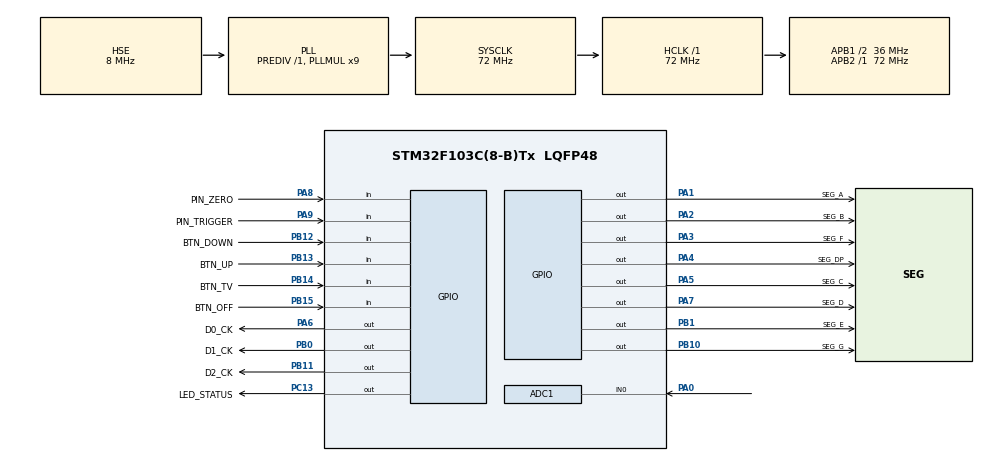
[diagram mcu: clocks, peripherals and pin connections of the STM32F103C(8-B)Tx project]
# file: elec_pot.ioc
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ADC1.Channel-7\#ChannelRegularConversion=ADC_CHANNEL_0
ADC1.NbrOfConversionFlag=1
ADC1.Rank-7\#ChannelRegularConversion=1
ADC1.SamplingTime-7\#ChannelRegularConversion=ADC_SAMPLETIME_28CYCLES_5
ADC1.master=1
Mcu.Family=STM32F1
Mcu.Name=STM32F103C(8-B)Tx
Mcu.Package=LQFP48
NVIC.PriorityGroup=NVIC_PRIORITYGROUP_4
PA0-WKUP.Signal=ADCx_IN0
PA1.GPIO_Label=SEG_A
PA1.Signal=GPIO_Output
PA13.Mode=Serial_Wire
PA13.Signal=SYS_JTMS-SWDIO
PA14.Mode=Serial_Wire
PA14.Signal=SYS_JTCK-SWCLK
PA2.GPIO_Label=SEG_B
PA2.Signal=GPIO_Output
PA3.GPIO_Label=SEG_F
PA3.Signal=GPIO_Output
PA4.GPIO_Label=SEG_DP
PA4.Signal=GPIO_Output
PA5.GPIO_Label=SEG_C
PA5.Signal=GPIO_Output
PA6.GPIO_Label=D0_CK
PA6.Signal=GPIO_Output
PA7.GPIO_Label=SEG_D
PA7.Signal=GPIO_Output
PA8.GPIO_Label=PIN_ZERO
PA8.Signal=GPIO_Input
PA9.GPIO_Label=PIN_TRIGGER
PA9.Signal=GPIO_Input
PB0.GPIO_Label=D1_CK
PB0.Signal=GPIO_Output
PB1.GPIO_Label=SEG_E
PB1.PinState=GPIO_PIN_RESET
PB1.Signal=GPIO_Output
PB10.GPIO_Label=SEG_G
PB10.Signal=GPIO_Output
PB11.GPIO_Label=D2_CK
PB11.Signal=GPIO_Output
PB12.GPIO_Label=BTN_DOWN
PB12.Signal=GPIO_Input
PB13.GPIO_Label=BTN_UP
PB13.Signal=GPIO_Input
PB14.GPIO_Label=BTN_TV
PB14.Signal=GPIO_Input
PB15.GPIO_Label=BTN_OFF
PB15.GPIO_PuPd=GPIO_PULLDOWN
PB15.Signal=GPIO_Input
PC13-TAMPER-RTC.GPIO_Label=LED_STATUS
PC13-TAMPER-RTC.PinState=GPIO_PIN_RESET
PC13-TAMPER-RTC.Signal=GPIO_Output
PC14-OSC32_IN.Mode=LSE-External-Oscillator
PC14-OSC32_IN.Signal=RCC_OSC32_IN
PC15-OSC32_OUT.Mode=LSE-External-Oscillator
PC15-OSC32_OUT.Signal=RCC_OSC32_OUT
PD0-OSC_IN.Mode=HSE-External-Oscillator
PD0-OSC_IN.Signal=RCC_OSC_IN
PD1-OSC_OUT.Mode=HSE-External-Oscillator
PD1-OSC_OUT.Signal=RCC_OSC_OUT
ProjectManager.HeapSize=0x200
ProjectManager.StackSize=0x400
ProjectManager.TargetToolchain=STM32CubeIDE
RCC.ADCPresc=RCC_ADCPCLK2_DIV6
RCC.AHBFreq_Value=72000000
RCC.APB1CLKDivider=RCC_HCLK_DIV2
RCC.APB1Freq_Value=36000000
RCC.APB1TimFreq_Value=72000000
RCC.APB2Freq_Value=72000000
RCC.APB2TimFreq_Value=72000000
RCC.HCLKFreq_Value=72000000
RCC.PLLMUL=RCC_PLL_MUL9
RCC.PLLSourceVirtual=RCC_PLLSOURCE_HSE
RCC.SYSCLKFreq_VALUE=72000000
RCC.SYSCLKSource=RCC_SYSCLKSOURCE_PLLCLK
RCC.USBFreq_Value=48000000
RCC.USBPrescaler=RCC_USBCLKSOURCE_PLL_DIV1_5
SH.ADCx_IN0.0=ADC1_IN0,IN0
board=custom

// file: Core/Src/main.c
/* USER CODE BEGIN Header */
/**
  ******************************************************************************
  * @file           : main.c
  * @brief          : Main program body
  ******************************************************************************
  * @attention
  *
  * Copyright (c) 2022 STMicroelectronics.
  * All rights reserved.
  *
  * This software is licensed under terms that can be found in the LICENSE file
  * in the root directory of this software component.
  * If no LICENSE file comes with this software, it is provided AS-IS.
  *
  ******************************************************************************
  */
/* USER CODE END Header */
#include "main.h"

/* USER CODE BEGIN Includes */

#include "util.h"
#include "strutil.h"
#include "seven_segments.h"
/* USER CODE END Includes */

ADC_HandleTypeDef hadc1;

/* USER CODE BEGIN PV */

/* Estructuras de control */
_usrtick usrtick;
_hb hb;
_sseg sseg;

static const uint32_t segments_ports[8] = {
		(uint32_t)SEG_A_GPIO_Port,
		(uint32_t)SEG_B_GPIO_Port,
		(uint32_t)SEG_C_GPIO_Port,
		(uint32_t)SEG_D_GPIO_Port,
		(uint32_t)SEG_E_GPIO_Port,
		(uint32_t)SEG_F_GPIO_Port,
		(uint32_t)SEG_G_GPIO_Port,
		(uint32_t)SEG_DP_GPIO_Port
};
static const uint16_t segments_pins[8] = {
		SEG_A_Pin,
		SEG_B_Pin,
		SEG_C_Pin,
		SEG_D_Pin,
		SEG_E_Pin,
		SEG_F_Pin,
		SEG_G_Pin,
		SEG_DP_Pin
};
static const uint32_t digits_ports[NUMBER_OF_DIGITS] = {
		(uint32_t)D0_CK_GPIO_Port,
		(uint32_t)D1_CK_GPIO_Port,
		(uint32_t)D2_CK_GPIO_Port
};
static const uint16_t digits_pins[NUMBER_OF_DIGITS] = {
		D0_CK_Pin,
		D1_CK_Pin,
		D2_CK_Pin
};

/* USER CODE END PV */

void SystemClock_Config(void);
static void MX_GPIO_Init(void);
static void MX_ADC1_Init(void);
/* USER CODE BEGIN PFP */

void tasks_1ms();
void tasks_10ms();
void tasks_100ms();
void tasks_1s();
void tasks_10s();

/* USER CODE END PFP */

/* USER CODE BEGIN 0 */

/*
 * --------------  RUTINAS DE INICIALIZACION LOCALES  ---------------------------
 */

/*
 * --------------  REDEFINICION DE MANEJO DE INTERRUPCIONES   ---------------------------
 */
/*
 * ISR ADC - Conversion complete
 */
void HAL_ADC_ConvCpltCallback(ADC_HandleTypeDef* hadc){

}

/*
 * --------------  FUNCIONES DE USUARIO  ---------------------------
 */

/*
 * Funciones pasadas por parametro
 */

/*
 * Al hearbeat
 */
void heartbeat_gpio_callback(uint8_t state){
	HAL_GPIO_WritePin(LED_STATUS_GPIO_Port, LED_STATUS_Pin, state);
}

/*
 * Al Seven segments
 */
void sseg_gpio_high_callback(uint32_t port, uint16_t pin){
	HAL_GPIO_WritePin((GPIO_TypeDef *)port, pin, GPIO_PIN_SET);
}

void sseg_gpio_low_callback(uint32_t port, uint16_t pin){
	HAL_GPIO_WritePin((GPIO_TypeDef *)port, pin, GPIO_PIN_RESET);
}

/*
 * Al planificador usrtick
 */
void tasks_1ms(){
	sseg_work(&sseg);
}

void tasks_10ms(){}

void tasks_100ms(){
	heartbeat(&hb);
}

void tasks_1s(){}

void tasks_10s(){}

/* USER CODE END 0 */

int main(void)
{

  /* MCU Configuration--------------------------------------------------------*/

  /* Reset of all peripherals, Initializes the Flash interface and the Systick. */
  HAL_Init();

  /* Configure the system clock */
  SystemClock_Config();

  /* Initialize all configured peripherals */
  MX_GPIO_Init();
  MX_ADC1_Init();
  /* USER CODE BEGIN 2 */

  // Inicializacion del planificador usertick
  usrtick_init(&usrtick, 1000);
  usrtick_attach(&usrtick, tasks_1ms, 1);
  usrtick_attach(&usrtick, tasks_10ms, 10);
  usrtick_attach(&usrtick, tasks_100ms, 100);
  usrtick_attach(&usrtick, tasks_1s, 1000);
  usrtick_attach(&usrtick, tasks_10s, 10000);

  // Inicializacion de heartbeat
  heartbeat_init(&hb);
  heartbeat_attach(&hb, heartbeat_gpio_callback);

  // Inicializacion de sseg
  sseg_init(&sseg);
  sseg_attach_gpio_high(&sseg, sseg_gpio_high_callback);
  sseg_attach_gpio_low(&sseg, sseg_gpio_low_callback);
  sseg_set_segments(&sseg, segments_ports, segments_pins);
  sseg_set_digits(&sseg, digits_ports, digits_pins);
  /* USER CODE END 2 */

  /* Infinite loop */
  /* USER CODE BEGIN WHILE */
  while (1)
  {
	usrtick_work(&usrtick);
    /* USER CODE END WHILE */

  }
}

void SystemClock_Config(void)
{
  RCC_OscInitTypeDef RCC_OscInitStruct = {0};
  RCC_ClkInitTypeDef RCC_ClkInitStruct = {0};
  RCC_PeriphCLKInitTypeDef PeriphClkInit = {0};

  /** Initializes the RCC Oscillators according to the specified parameters
  * in the RCC_OscInitTypeDef structure.
  */
  RCC_OscInitStruct.OscillatorType = RCC_OSCILLATORTYPE_HSE;
  RCC_OscInitStruct.HSEState = RCC_HSE_ON;
  RCC_OscInitStruct.HSEPredivValue = RCC_HSE_PREDIV_DIV1;
  RCC_OscInitStruct.HSIState = RCC_HSI_ON;
  RCC_OscInitStruct.PLL.PLLState = RCC_PLL_ON;
  RCC_OscInitStruct.PLL.PLLSource = RCC_PLLSOURCE_HSE;
  RCC_OscInitStruct.PLL.PLLMUL = RCC_PLL_MUL9;
  if (HAL_RCC_OscConfig(&RCC_OscInitStruct) != HAL_OK)
  {
    Error_Handler();
  }

  /** Initializes the CPU, AHB and APB buses clocks
  */
  RCC_ClkInitStruct.ClockType = RCC_CLOCKTYPE_HCLK|RCC_CLOCKTYPE_SYSCLK
                              |RCC_CLOCKTYPE_PCLK1|RCC_CLOCKTYPE_PCLK2;
  RCC_ClkInitStruct.SYSCLKSource = RCC_SYSCLKSOURCE_PLLCLK;
  RCC_ClkInitStruct.AHBCLKDivider = RCC_SYSCLK_DIV1;
  RCC_ClkInitStruct.APB1CLKDivider = RCC_HCLK_DIV2;
  RCC_ClkInitStruct.APB2CLKDivider = RCC_HCLK_DIV1;

  if (HAL_RCC_ClockConfig(&RCC_ClkInitStruct, FLASH_LATENCY_2) != HAL_OK)
  {
    Error_Handler();
  }
  PeriphClkInit.PeriphClockSelection = RCC_PERIPHCLK_ADC;
  PeriphClkInit.AdcClockSelection = RCC_ADCPCLK2_DIV6;
  if (HAL_RCCEx_PeriphCLKConfig(&PeriphClkInit) != HAL_OK)
  {
    Error_Handler();
  }
}

static void MX_ADC1_Init(void)
{

  ADC_ChannelConfTypeDef sConfig = {0};

  /** Common config
  */
  hadc1.Instance = ADC1;
  hadc1.Init.ScanConvMode = ADC_SCAN_DISABLE;
  hadc1.Init.ContinuousConvMode = DISABLE;
  hadc1.Init.DiscontinuousConvMode = DISABLE;
  hadc1.Init.ExternalTrigConv = ADC_SOFTWARE_START;
  hadc1.Init.DataAlign = ADC_DATAALIGN_RIGHT;
  hadc1.Init.NbrOfConversion = 1;
  if (HAL_ADC_Init(&hadc1) != HAL_OK)
  {
    Error_Handler();
  }

  /** Configure Regular Channel
  */
  sConfig.Channel = ADC_CHANNEL_0;
  sConfig.Rank = ADC_REGULAR_RANK_1;
  sConfig.SamplingTime = ADC_SAMPLETIME_28CYCLES_5;
  if (HAL_ADC_ConfigChannel(&hadc1, &sConfig) != HAL_OK)
  {
    Error_Handler();
  }

}

static void MX_GPIO_Init(void)
{
  GPIO_InitTypeDef GPIO_InitStruct = {0};

  /* GPIO Ports Clock Enable */
  __HAL_RCC_GPIOC_CLK_ENABLE();
  __HAL_RCC_GPIOD_CLK_ENABLE();
  __HAL_RCC_GPIOA_CLK_ENABLE();
  __HAL_RCC_GPIOB_CLK_ENABLE();

  /*Configure GPIO pin Output Level */
  HAL_GPIO_WritePin(LED_STATUS_GPIO_Port, LED_STATUS_Pin, GPIO_PIN_RESET);

  /*Configure GPIO pin Output Level */
  HAL_GPIO_WritePin(GPIOA, SEG_A_Pin|SEG_B_Pin|SEG_F_Pin|SEG_DP_Pin
                          |SEG_C_Pin|D0_CK_Pin|SEG_D_Pin, GPIO_PIN_RESET);

  /*Configure GPIO pin Output Level */
  HAL_GPIO_WritePin(GPIOB, D1_CK_Pin|SEG_E_Pin|SEG_G_Pin|D2_CK_Pin, GPIO_PIN_RESET);

  /*Configure GPIO pin : LED_STATUS_Pin */
  GPIO_InitStruct.Pin = LED_STATUS_Pin;
  GPIO_InitStruct.Mode = GPIO_MODE_OUTPUT_PP;
  GPIO_InitStruct.Pull = GPIO_NOPULL;
  GPIO_InitStruct.Speed = GPIO_SPEED_FREQ_LOW;
  HAL_GPIO_Init(LED_STATUS_GPIO_Port, &GPIO_InitStruct);

  /*Configure GPIO pins : SEG_A_Pin SEG_B_Pin SEG_F_Pin SEG_DP_Pin
                           SEG_C_Pin D0_CK_Pin SEG_D_Pin */
  GPIO_InitStruct.Pin = SEG_A_Pin|SEG_B_Pin|SEG_F_Pin|SEG_DP_Pin
                          |SEG_C_Pin|D0_CK_Pin|SEG_D_Pin;
  GPIO_InitStruct.Mode = GPIO_MODE_OUTPUT_PP;
  GPIO_InitStruct.Pull = GPIO_NOPULL;
  GPIO_InitStruct.Speed = GPIO_SPEED_FREQ_LOW;
  HAL_GPIO_Init(GPIOA, &GPIO_InitStruct);

  /*Configure GPIO pins : D1_CK_Pin SEG_E_Pin SEG_G_Pin D2_CK_Pin */
  GPIO_InitStruct.Pin = D1_CK_Pin|SEG_E_Pin|SEG_G_Pin|D2_CK_Pin;
  GPIO_InitStruct.Mode = GPIO_MODE_OUTPUT_PP;
  GPIO_InitStruct.Pull = GPIO_NOPULL;
  GPIO_InitStruct.Speed = GPIO_SPEED_FREQ_LOW;
  HAL_GPIO_Init(GPIOB, &GPIO_InitStruct);

  /*Configure GPIO pins : BTN_DOWN_Pin BTN_UP_Pin BTN_TV_Pin */
  GPIO_InitStruct.Pin = BTN_DOWN_Pin|BTN_UP_Pin|BTN_TV_Pin;
  GPIO_InitStruct.Mode = GPIO_MODE_INPUT;
  GPIO_InitStruct.Pull = GPIO_NOPULL;
  HAL_GPIO_Init(GPIOB, &GPIO_InitStruct);

  /*Configure GPIO pin : BTN_OFF_Pin */
  GPIO_InitStruct.Pin = BTN_OFF_Pin;
  GPIO_InitStruct.Mode = GPIO_MODE_INPUT;
  GPIO_InitStruct.Pull = GPIO_PULLDOWN;
  HAL_GPIO_Init(BTN_OFF_GPIO_Port, &GPIO_InitStruct);

  /*Configure GPIO pins : PIN_ZERO_Pin PIN_TRIGGER_Pin */
  GPIO_InitStruct.Pin = PIN_ZERO_Pin|PIN_TRIGGER_Pin;
  GPIO_InitStruct.Mode = GPIO_MODE_INPUT;
  GPIO_InitStruct.Pull = GPIO_NOPULL;
  HAL_GPIO_Init(GPIOA, &GPIO_InitStruct);

}

void Error_Handler(void)
{
  __disable_irq();
  while (1)
  {
  }
}
